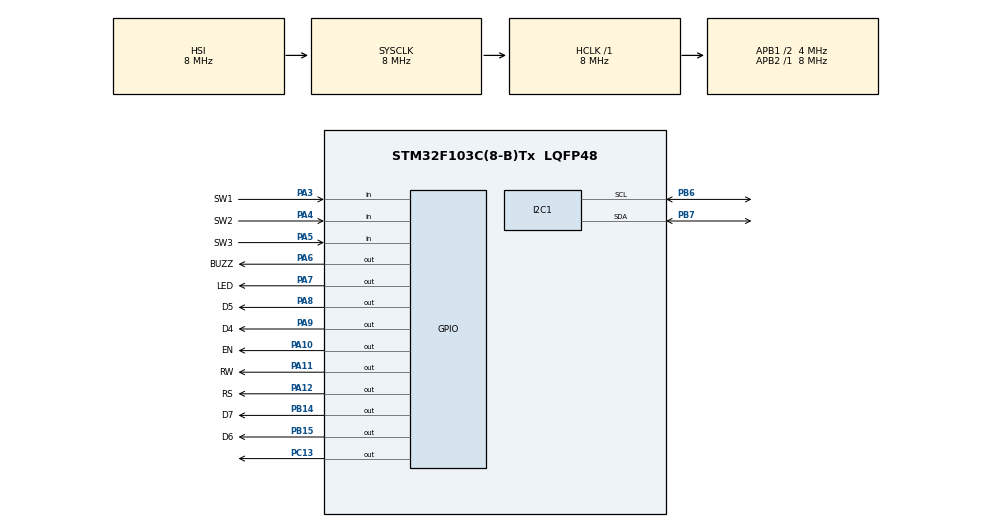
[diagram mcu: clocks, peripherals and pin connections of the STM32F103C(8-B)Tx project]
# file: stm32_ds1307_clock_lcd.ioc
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Mcu.Family=STM32F1
Mcu.Name=STM32F103C(8-B)Tx
Mcu.Package=LQFP48
NVIC.I2C1_EV_IRQn=true\:0\:0\:false\:false\:true\:true\:true\:true
NVIC.PriorityGroup=NVIC_PRIORITYGROUP_4
NVIC.TIM2_IRQn=true\:0\:0\:false\:false\:true\:true\:true\:true
PA10.GPIO_Label=EN
PA10.Signal=GPIO_Output
PA11.GPIO_Label=RW
PA11.Signal=GPIO_Output
PA12.GPIO_Label=RS
PA12.Signal=GPIO_Output
PA13.Mode=Serial_Wire
PA13.Signal=SYS_JTMS-SWDIO
PA14.Mode=Serial_Wire
PA14.Signal=SYS_JTCK-SWCLK
PA3.GPIO_Label=SW1
PA3.GPIO_PuPd=GPIO_PULLUP
PA3.Signal=GPIO_Input
PA4.GPIO_Label=SW2
PA4.GPIO_PuPd=GPIO_PULLUP
PA4.Signal=GPIO_Input
PA5.GPIO_Label=SW3
PA5.GPIO_PuPd=GPIO_PULLUP
PA5.Signal=GPIO_Input
PA6.GPIO_Label=BUZZ
PA6.Signal=GPIO_Output
PA7.GPIO_Label=LED
PA7.PinState=GPIO_PIN_SET
PA7.Signal=GPIO_Output
PA8.GPIO_Label=D5
PA8.Signal=GPIO_Output
PA9.GPIO_Label=D4
PA9.Signal=GPIO_Output
PB14.GPIO_Label=D7
PB14.Signal=GPIO_Output
PB15.GPIO_Label=D6
PB15.Signal=GPIO_Output
PB6.Mode=I2C
PB6.Signal=I2C1_SCL
PB7.Mode=I2C
PB7.Signal=I2C1_SDA
PC13-TAMPER-RTC.Signal=GPIO_Output
PD0-OSC_IN.Mode=HSE-External-Oscillator
PD0-OSC_IN.Signal=RCC_OSC_IN
PD1-OSC_OUT.Mode=HSE-External-Oscillator
PD1-OSC_OUT.Signal=RCC_OSC_OUT
ProjectManager.HeapSize=0x200
ProjectManager.StackSize=0x400
ProjectManager.TargetToolchain=MDK-ARM V5.32
RCC.AHBFreq_Value=8000000
RCC.APB1CLKDivider=RCC_HCLK_DIV2
RCC.APB1Freq_Value=4000000
RCC.APB1TimFreq_Value=8000000
RCC.APB2Freq_Value=8000000
RCC.APB2TimFreq_Value=8000000
RCC.HCLKFreq_Value=8000000
RCC.PLLMUL=RCC_PLL_MUL9
RCC.PLLSourceVirtual=RCC_PLLSOURCE_HSE
RCC.SYSCLKFreq_VALUE=8000000
RCC.USBFreq_Value=72000000
TIM2.Period=1000-1
TIM2.Prescaler=7
VP_TIM2_VS_ClockSourceINT.Mode=Internal
board=custom

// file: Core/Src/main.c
/* USER CODE BEGIN Header */
/**
  ******************************************************************************
  * @file           : main.c
  * @brief          : Main program body
  ******************************************************************************
  * @attention
  *
  * Copyright (c) 2023 STMicroelectronics.
  * All rights reserved.
  *
  * This software is licensed under terms that can be found in the LICENSE file
  * in the root directory of this software component.
  * If no LICENSE file comes with this software, it is provided AS-IS.
  *
  ******************************************************************************
  */
/* USER CODE END Header */
#include "main.h"

/* USER CODE BEGIN Includes */
#include "ds1307.h"
#include "CLCD.h"
#include "flash.h"
#include <stdio.h>
#include <stdint.h>
#include <string.h>
/* USER CODE END Includes */

/* USER CODE BEGIN PTD */
I2C_HandleTypeDef hi2c1;
DS1307_Handle ds1307;
DS1307_TIME time;
I2C_HandleTypeDef i2c_handle;
/* USER CODE END PTD */

/* USER CODE BEGIN PD */
//#define addr 		 	((uint32_t)0x0800FC00)	//Page 63
#define addr 		((uint32_t)0x0800F800)	//Page 62

/* USER CODE END PD */

I2C_HandleTypeDef hi2c1;

TIM_HandleTypeDef htim2;

/* USER CODE BEGIN PV */
CLCD_Name LCD1;
char LCD_send[20];
int cmode=0;
int AlarmHour=7, AlarmMin=0;
int AlarmCheck=0;

/* USER CODE END PV */

void SystemClock_Config(void);
static void MX_GPIO_Init(void);
static void MX_I2C1_Init(void);
static void MX_TIM2_Init(void);

/* USER CODE BEGIN 0 */
const char *DAYS_OF_WEEK[7] = { "CN", "T2", "T3", "T4", "T5", "T6", "T7" };
DS1307_RESULT confDS1307(void) {

	ds1307.i2c = &i2c_handle;
	ds1307.DS1307_ADDRESS = 0xD0;
	ds1307.DS1307_CLOCK = 100000;
	ds1307.DS1307_I2Cx = I2C1;
	ds1307.TIMEOUT = 1000;
	DS1307_RESULT res;
	res = DS1307_Init(&ds1307);
	if (res != DS1307_RES_OK) {
		return DS1307_RES_ERROR;
	}
	res = DS1307_ClockResume(&ds1307);
	if (res != DS1307_RES_OK) {
		return DS1307_RES_ERROR;
	}
	res = DS1307_EnableSquareWave(&ds1307);
	if (res != DS1307_RES_OK) {
		return DS1307_RES_ERROR;
	}
	res = DS1307_SelectRate(&ds1307, DS1307_RATE_1HZ);
	if (res != DS1307_RES_OK) {
		return DS1307_RES_ERROR;
	}
	return DS1307_RES_OK;
}

void tick(int _n, int _dl)
{
	while(_n--)
	{
		HAL_GPIO_WritePin(BUZZ_GPIO_Port, BUZZ_Pin, 1);
		HAL_Delay(_dl);
		HAL_GPIO_WritePin(BUZZ_GPIO_Port, BUZZ_Pin, 0);
		HAL_Delay(_dl);
	}
}
int readButton()
{
	if (HAL_GPIO_ReadPin(SW1) == 0)
	{
		HAL_Delay(3);
		if (HAL_GPIO_ReadPin(SW1) == 0)
		{
			tick(1,30);
			return 1;
		}
	}
	if (HAL_GPIO_ReadPin(SW2) == 0)
	{
		HAL_Delay(3);
		if (HAL_GPIO_ReadPin(SW2) == 0)
		{
			tick(1,30);
			return 2;
		}
	}
	if (HAL_GPIO_ReadPin(SW3) == 0)
	{
		HAL_Delay(3);
		if (HAL_GPIO_ReadPin(SW3) == 0)
		{
			tick(1,30);
			return 3;
		}
	}
	return 0;
}

/* USER CODE END 0 */

int main(void)
{

  /* MCU Configuration--------------------------------------------------------*/

  /* Reset of all peripherals, Initializes the Flash interface and the Systick. */
  HAL_Init();

  /* Configure the system clock */
  SystemClock_Config();

  /* Initialize all configured peripherals */
  MX_GPIO_Init();
  MX_I2C1_Init();
  MX_TIM2_Init();
  /* USER CODE BEGIN 2 */
  tick(1,80);
  CLCD_4BIT_Init(&LCD1, 16, 2, RS_GPIO_Port, RS_Pin, EN_GPIO_Port, EN_Pin,
  									D4_GPIO_Port, D4_Pin, D5_GPIO_Port, D5_Pin,
  									D6_GPIO_Port, D6_Pin, D7_GPIO_Port, D7_Pin);
  HAL_GPIO_WritePin(RW_GPIO_Port, RW_Pin, GPIO_PIN_RESET);

  CLCD_SetCursor(&LCD1, 0, 0);
  CLCD_WriteString(&LCD1, "Start ...");

  AlarmHour = Flash_Read_Int(addr);
  AlarmMin  = Flash_Read_Int(addr+8);

  if (AlarmHour>23) AlarmHour=0;
  if (AlarmMin>59) AlarmMin=0;

  if (confDS1307() != DS1307_RES_OK) tick(1,1000);
  else tick(3,100);
  /* USER CODE END 2 */

  /* Infinite loop */
  while (1)
  {

    /* USER CODE BEGIN 3 */
	if (cmode == 0)
	{
	  CLCD_Clear(&LCD1);
	  while (cmode==0)
	  {
		  time = DS1307_GetTime(&ds1307);
		  sprintf(LCD_send,"    %02d:%02d:%02d    ",time.hour,time.minute,time.second);
		  CLCD_SetCursor(&LCD1, 0, 0); CLCD_WriteString(&LCD1, LCD_send);
		  sprintf(LCD_send," %s, %02d/%02d/%04d ",DAYS_OF_WEEK[time.day],time.date,time.month,time.year);
		  CLCD_SetCursor(&LCD1, 0, 1); CLCD_WriteString(&LCD1, LCD_send);

		  if (time.hour==AlarmHour && time.minute==AlarmMin)
		  {
			  if (AlarmCheck==0) tick(3, 50);
		  }
		  else
		  {
			  HAL_GPIO_WritePin(BUZZ_GPIO_Port, BUZZ_Pin, 0);
			  AlarmCheck=0;
		  }

		  int x = readButton();
		  if (x==2) cmode=1; // cài th�?i gian
		  else if (x==1) cmode=2; // cài hẹn gi�?
		  else if (x==3 && AlarmCheck==0)
		  {
			  HAL_GPIO_WritePin(BUZZ_GPIO_Port, BUZZ_Pin, 0);
			  AlarmCheck=1;
		  }

	  }
	}
	if (cmode==1)
	{
	  CLCD_Clear(&LCD1);
	  CLCD_SetCursor(&LCD1, 0, 0); CLCD_WriteString(&LCD1, "CaiDat Thoi Gian");
	  HAL_Delay(1500);
	  CLCD_Clear(&LCD1);
	  int val[7];
	  int max[7]={23,59,59,6,31,12,2050};
	  int min[7]={0, 0, 0, 0,1, 1, 2010};
	  int i=0;
	  val[0]=time.hour;
	  val[1]=time.minute;
	  val[2]=time.second;
	  val[3]=time.day;
	  val[4]=time.date;
	  val[5]=time.month;
	  val[6]=time.year;
	  while (cmode==1)
	  {
		  sprintf(LCD_send,"    %02d:%02d:%02d    ",val[0],val[1],val[2]);
		  CLCD_SetCursor(&LCD1, 0, 0); CLCD_WriteString(&LCD1, LCD_send);
		  sprintf(LCD_send," %s, %02d/%02d/%04d ",DAYS_OF_WEEK[val[3]],val[4],val[5],val[6]);
		  CLCD_SetCursor(&LCD1, 0, 1); CLCD_WriteString(&LCD1, LCD_send);
		  HAL_Delay(10);
		  if (i==0) CLCD_SetCursor(&LCD1, 4, 0);
		  else if (i==1) CLCD_SetCursor(&LCD1, 7, 0);
		  else if (i==2) CLCD_SetCursor(&LCD1, 10, 0);
		  else if (i==3) CLCD_SetCursor(&LCD1, 1, 1);
		  else if (i==4) CLCD_SetCursor(&LCD1, 5, 1);
		  else if (i==5) CLCD_SetCursor(&LCD1, 8, 1);
		  else if (i==6) CLCD_SetCursor(&LCD1, 13, 1);
		  CLCD_WriteString(&LCD1, "__");

		  int x = readButton();
		  if (x==3) // MODE
		  {
			  i++;
			  if (i>6) // lưu
			  {
				  time.hour = val[0];
				  time.minute = val[1];
				  time.second = val[2];
				  time.day = val[3];
				  time.date = val[4];
				  time.month = val[5];
				  time.year = val[6];
				  DS1307_SetTime(&ds1307, time);
				  CLCD_Clear(&LCD1);
				  CLCD_SetCursor(&LCD1, 0, 0); CLCD_WriteString(&LCD1, "   Da Luu lai   ");
				  HAL_Delay(1000);
				  cmode=0;
			  }
		  }
		  else if (x==1) // DOWN
		  {
			  if (val[i]>min[i]) val[i]--;
			  else val[i]=max[i];
		  }
		  else if (x==2) // UP
		  {
			  if (val[i]<max[i]) val[i]++;
			  else val[i]=min[i];
		  }
	  }
	}
	if (cmode==2)
	{
	  CLCD_Clear(&LCD1);
	  CLCD_SetCursor(&LCD1, 0, 0); CLCD_WriteString(&LCD1, "Cai dat Bao Thuc");
	  HAL_Delay(1500);
	  CLCD_Clear(&LCD1);
	  int i=0;
	  while(cmode==2)
	  {
		  CLCD_SetCursor(&LCD1, 0, 0); CLCD_WriteString(&LCD1, "Bao Thuc:       ");
		  sprintf(LCD_send,"       %02d:%02d    ",AlarmHour,AlarmMin);
		  CLCD_SetCursor(&LCD1, 0, 1); CLCD_WriteString(&LCD1, LCD_send);

		  if (i==0) CLCD_SetCursor(&LCD1, 7, 1);
		  else if (i==1) CLCD_SetCursor(&LCD1, 10, 1);
		  CLCD_WriteString(&LCD1, "__");

		  int x = readButton();
		  if (x==3)
		  {
			  i++;
			  if (i>=2) // Lưu
			  {
				  Flash_Unlock();
				  Flash_Erase(addr);
				  Flash_Write_Int(addr, AlarmHour);
				  HAL_Delay(50);
				  Flash_Unlock();
				  Flash_Write_Int(addr+8, AlarmMin);
				  CLCD_Clear(&LCD1);
				  CLCD_SetCursor(&LCD1, 0, 0); CLCD_WriteString(&LCD1, "   Da Luu lai   ");
				  HAL_Delay(1000);
				  cmode=0;
			  }
		  }
		  else if (x==1) // Giảm
		  {
			  if (i==0)
			  {
				  if (AlarmHour>0) AlarmHour--; else AlarmHour=23;
			  }
			  else
			  {
				  if (AlarmMin>0) AlarmMin--; else AlarmMin=59;
			  }
		  }
		  else if (x==2) // Tang
		  {
			  if (i==0)
			  {
				  if (AlarmHour<23) AlarmHour++; else AlarmHour=0;
			  }
			  else
			  {
				  if (AlarmMin<59) AlarmMin++; else AlarmMin=0;
			  }
		  }
	  }
	}
  }
  /* USER CODE END 3 */
}

void SystemClock_Config(void)
{
  RCC_OscInitTypeDef RCC_OscInitStruct = {0};
  RCC_ClkInitTypeDef RCC_ClkInitStruct = {0};

  /** Initializes the RCC Oscillators according to the specified parameters
  * in the RCC_OscInitTypeDef structure.
  */
  RCC_OscInitStruct.OscillatorType = RCC_OSCILLATORTYPE_HSI;
  RCC_OscInitStruct.HSIState = RCC_HSI_ON;
  RCC_OscInitStruct.HSICalibrationValue = RCC_HSICALIBRATION_DEFAULT;
  RCC_OscInitStruct.PLL.PLLState = RCC_PLL_NONE;
  if (HAL_RCC_OscConfig(&RCC_OscInitStruct) != HAL_OK)
  {
    Error_Handler();
  }

  /** Initializes the CPU, AHB and APB buses clocks
  */
  RCC_ClkInitStruct.ClockType = RCC_CLOCKTYPE_HCLK|RCC_CLOCKTYPE_SYSCLK
                              |RCC_CLOCKTYPE_PCLK1|RCC_CLOCKTYPE_PCLK2;
  RCC_ClkInitStruct.SYSCLKSource = RCC_SYSCLKSOURCE_HSI;
  RCC_ClkInitStruct.AHBCLKDivider = RCC_SYSCLK_DIV1;
  RCC_ClkInitStruct.APB1CLKDivider = RCC_HCLK_DIV2;
  RCC_ClkInitStruct.APB2CLKDivider = RCC_HCLK_DIV1;

  if (HAL_RCC_ClockConfig(&RCC_ClkInitStruct, FLASH_LATENCY_0) != HAL_OK)
  {
    Error_Handler();
  }
}

static void MX_I2C1_Init(void)
{

  hi2c1.Instance = I2C1;
  hi2c1.Init.ClockSpeed = 100000;
  hi2c1.Init.DutyCycle = I2C_DUTYCYCLE_2;
  hi2c1.Init.OwnAddress1 = 0;
  hi2c1.Init.AddressingMode = I2C_ADDRESSINGMODE_7BIT;
  hi2c1.Init.DualAddressMode = I2C_DUALADDRESS_DISABLE;
  hi2c1.Init.OwnAddress2 = 0;
  hi2c1.Init.GeneralCallMode = I2C_GENERALCALL_DISABLE;
  hi2c1.Init.NoStretchMode = I2C_NOSTRETCH_DISABLE;
  if (HAL_I2C_Init(&hi2c1) != HAL_OK)
  {
    Error_Handler();
  }

}

static void MX_TIM2_Init(void)
{

  TIM_ClockConfigTypeDef sClockSourceConfig = {0};
  TIM_MasterConfigTypeDef sMasterConfig = {0};

  htim2.Instance = TIM2;
  htim2.Init.Prescaler = 7;
  htim2.Init.CounterMode = TIM_COUNTERMODE_UP;
  htim2.Init.Period = 1000-1;
  htim2.Init.ClockDivision = TIM_CLOCKDIVISION_DIV1;
  htim2.Init.AutoReloadPreload = TIM_AUTORELOAD_PRELOAD_DISABLE;
  if (HAL_TIM_Base_Init(&htim2) != HAL_OK)
  {
    Error_Handler();
  }
  sClockSourceConfig.ClockSource = TIM_CLOCKSOURCE_INTERNAL;
  if (HAL_TIM_ConfigClockSource(&htim2, &sClockSourceConfig) != HAL_OK)
  {
    Error_Handler();
  }
  sMasterConfig.MasterOutputTrigger = TIM_TRGO_RESET;
  sMasterConfig.MasterSlaveMode = TIM_MASTERSLAVEMODE_DISABLE;
  if (HAL_TIMEx_MasterConfigSynchronization(&htim2, &sMasterConfig) != HAL_OK)
  {
    Error_Handler();
  }

}

static void MX_GPIO_Init(void)
{
  GPIO_InitTypeDef GPIO_InitStruct = {0};

  /* GPIO Ports Clock Enable */
  __HAL_RCC_GPIOC_CLK_ENABLE();
  __HAL_RCC_GPIOD_CLK_ENABLE();
  __HAL_RCC_GPIOA_CLK_ENABLE();
  __HAL_RCC_GPIOB_CLK_ENABLE();

  /*Configure GPIO pin Output Level */
  HAL_GPIO_WritePin(GPIOC, GPIO_PIN_13, GPIO_PIN_RESET);

  /*Configure GPIO pin Output Level */
  HAL_GPIO_WritePin(GPIOA, BUZZ_Pin|D5_Pin|D4_Pin|EN_Pin
                          |RW_Pin|RS_Pin, GPIO_PIN_RESET);

  /*Configure GPIO pin Output Level */
  HAL_GPIO_WritePin(LED_GPIO_Port, LED_Pin, GPIO_PIN_SET);

  /*Configure GPIO pin Output Level */
  HAL_GPIO_WritePin(GPIOB, D7_Pin|D6_Pin, GPIO_PIN_RESET);

  /*Configure GPIO pin : PC13 */
  GPIO_InitStruct.Pin = GPIO_PIN_13;
  GPIO_InitStruct.Mode = GPIO_MODE_OUTPUT_PP;
  GPIO_InitStruct.Pull = GPIO_NOPULL;
  GPIO_InitStruct.Speed = GPIO_SPEED_FREQ_LOW;
  HAL_GPIO_Init(GPIOC, &GPIO_InitStruct);

  /*Configure GPIO pins : SW1_Pin SW2_Pin SW3_Pin */
  GPIO_InitStruct.Pin = SW1_Pin|SW2_Pin|SW3_Pin;
  GPIO_InitStruct.Mode = GPIO_MODE_INPUT;
  GPIO_InitStruct.Pull = GPIO_PULLUP;
  HAL_GPIO_Init(GPIOA, &GPIO_InitStruct);

  /*Configure GPIO pins : BUZZ_Pin LED_Pin D5_Pin D4_Pin
                           EN_Pin RW_Pin RS_Pin */
  GPIO_InitStruct.Pin = BUZZ_Pin|LED_Pin|D5_Pin|D4_Pin
                          |EN_Pin|RW_Pin|RS_Pin;
  GPIO_InitStruct.Mode = GPIO_MODE_OUTPUT_PP;
  GPIO_InitStruct.Pull = GPIO_NOPULL;
  GPIO_InitStruct.Speed = GPIO_SPEED_FREQ_LOW;
  HAL_GPIO_Init(GPIOA, &GPIO_InitStruct);

  /*Configure GPIO pins : D7_Pin D6_Pin */
  GPIO_InitStruct.Pin = D7_Pin|D6_Pin;
  GPIO_InitStruct.Mode = GPIO_MODE_OUTPUT_PP;
  GPIO_InitStruct.Pull = GPIO_NOPULL;
  GPIO_InitStruct.Speed = GPIO_SPEED_FREQ_LOW;
  HAL_GPIO_Init(GPIOB, &GPIO_InitStruct);

}

void Error_Handler(void)
{
  __disable_irq();
  while (1)
  {
  }
}
